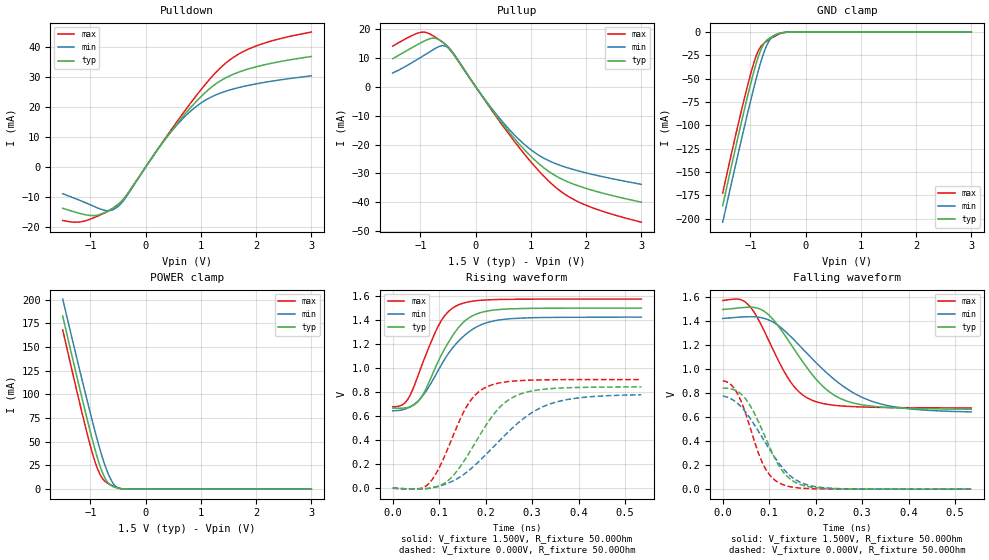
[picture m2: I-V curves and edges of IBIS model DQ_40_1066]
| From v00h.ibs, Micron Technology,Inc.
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| MODEL DQ_40_1066 (40 Ohm Data I/O with no ODT, 800/1066Mbps)
[Model]   DQ_40_1066
Model_type   I/O
Vinl = 575.000mV
Vinh = 925.000mV
Vmeas = 750.000mV
Vref = 750.000mV
Cref = 0.0pF
Rref = 25.000Ohm
|   typ   min   max
|C_comp   1.100pF   1.025pF   1.175pF
C_comp_pullup   0.5500pF   0.5125pF   0.5875pF
C_comp_pulldown   0.5500pF   0.5125pF   0.5875pF
[Model Spec]
| Input threshold voltage corners
Vinl   0.5750V   0.5375V   0.6125V
Vinh   0.9250V   0.8875V   0.9625V
| Measurement voltage corners
Vmeas   0.7500V   0.7125V   0.7875V
| Timing spec test load voltage corners
Vref   0.7500V   0.7125V   0.7875V
| Dynamic Overshoot Parameters from DDR3 Specification
|D_overshoot_ampl_h   0.40   NA   NA
|D_overshoot_ampl_l   0.40   NA   NA
|D_overshoot_area_h   0.19n   NA   NA
|D_overshoot_area_l   0.19n   NA   NA
[Receiver Thresholds]
Vth   =  0.750V
Vth_min  =  0.7350V
Vth_max  =  0.7650V
Vinh_ac  =  0.175V
Vinh_dc  =  0.100V
Vinl_ac  = -0.175V
Vinl_dc  = -0.100V
Tslew_ac =  5.000ns |Not specified, so set to high value
Threshold_sensitivity = 0.50
Reference_supply Pullup_ref
[Voltage Range]   1.5000V   1.4250V   1.5750V
[Pullup Reference]   1.5000V   1.4250V   1.5750V
| Junction Temperature (Ambient temp is 35C typ, 95C min, 0C max)
[Temperature Range]   50.0   110.0   0.0
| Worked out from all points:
|   slope of the pulldown table from 0 to 0.225 V, typ, clamps not added: 37.6 ohm
|   slope of the pullup table from 0 to 0.225 V, typ, clamps not added: 36.8 ohm
|   GND clamp passes 1 mA (typ) near -0.44 V on its own axis
|   POWER clamp passes 1 mA (typ) near -0.50 V on its own axis
|   falling waveform, V_fixture 1.500V, R_fixture 50.00Ohm: 20-80 % time 97.7ps typ, 135ps min, 73.9ps max; typ from 1.5 V to 0.667 V
|   rising waveform, V_fixture 1.500V, R_fixture 50.00Ohm: 20-80 % time 68.3ps typ, 83.1ps min, 57.9ps max; typ from 0.667 V to 1.5 V
|   rising waveform, V_fixture 0.000V, R_fixture 50.00Ohm: 20-80 % time 87.5ps typ, 131ps min, 65.1ps max; typ from 0 V to 0.843 V
|   falling waveform, V_fixture 0.000V, R_fixture 50.00Ohm: 20-80 % time 63.1ps typ, 80.5ps min, 49.8ps max; typ from 0.843 V to 0 V
[Pulldown]
|   Voltage   I(typ)   I(min)   I(max)
-1.5V     -13.72mA   -8.872mA   -17.78mA
-1.205V   -15.35mA   -10.97mA   -18.31mA
-925mV    -16.14mA   -13.16mA   -16.79mA
-740mV    -15.13mA   -14.39mA   -15.25mA
-590mV    -13.63mA   -14.19mA   -13.69mA
-360mV    -9.799mA   -10.17mA   -9.766mA
460mV     11.86mA    11.73mA    12.33mA
995mV     23.35mA    21.26mA    25.62mA
1.37V     28.92mA    24.77mA    33.33mA
1.74V     32mA       26.74mA    38.23mA
2.235V    34.43mA    28.49mA    41.8mA
3V        36.86mA    30.42mA    44.99mA
[GND Clamp]
|   Voltage   I(typ)   I(min)   I(max)
-1.5V     -186mA     -203.8mA   -172.6mA
-1.315V   -136.6mA   -155mA     -123.3mA
-1.16V    -96.29mA   -115mA     -83.85mA
-1.02V    -61.55mA   -79.79mA   -50.66mA
-925mV    -39.97mA   -57.01mA   -30.88mA
-845mV    -24.55mA   -39.15mA   -18.86mA
-765mV    -13.68mA   -23.7mA    -12.61mA
-675mV    -7.378mA   -11.11mA   -8.737mA
-585mV    -4.249mA   -4.347mA   -5.415mA
-475mV    -1.572mA   -1.264mA   -2.107mA
-320mV    -80.23uA   -77.6uA    -95.47uA
3V        0A         0A         0A
[Pullup]
|   Voltage   I(typ)   I(min)   I(max)
-1.5V     9.644mA    4.699mA    13.99mA
-935mV    15.67mA    10.77mA    18.83mA
-730mV    16.69mA    13.18mA    17.1mA
-540mV    14.44mA    13.92mA    14.44mA
-415mV    11.73mA    11.55mA    11.84mA
175mV     -4.783mA   -4.603mA   -4.924mA
495mV     -13.02mA   -12.32mA   -13.59mA
855mV     -21.21mA   -19.49mA   -22.63mA
1.185V    -27.28mA   -24.18mA   -29.95mA
1.525V    -31.6mA    -27.15mA   -35.94mA
1.865V    -34.32mA   -29.14mA   -39.85mA
3V        -39.93mA   -33.77mA   -46.84mA
[POWER Clamp]
|   Voltage   I(typ)   I(min)   I(max)
-1.5V     182.5mA    200.5mA    168mA
-1.115V   87.5mA     107mA      72.03mA
-1V       60.56mA    80.15mA    45.8mA
-910mV    40.77mA    59.85mA    28.01mA
-810mV    22mA       38.84mA    13.98mA
-725mV    10.61mA    23.55mA    7.788mA
-675mV    6.297mA    16.06mA    5.908mA
-620mV    3.641mA    9.228mA    4.207mA
-535mV    1.566mA    2.695mA    2.027mA
-440mV    397.8uA    483.4uA    506.5uA
-285mV    11.34uA    18.25uA    9.202uA
3V        0A         0A         0A
[Ramp]
R_load = 50.00Ohm
|   typ   min   max
dV/dt_r   506.082mV/87.438ps  467.083mV/130.473ps 543.020mV/65.075ps
dV/dt_f   499.641mV/97.655ps  468.121mV/135.108ps 538.104mV/73.840ps
[Falling Waveform]
V_fixture = 1.500V
V_fixture_min = 1.425V
V_fixture_max = 1.575V
R_fixture = 50.00Ohm
|   Time   V(typ)   V(min)   V(max)
0s        1.5V       1.425V     1.575V
51ps      1.518V     1.439V     1.554V
70ps      1.515V     1.438V     1.462V
92ps      1.477V     1.422V     1.299V
145ps     1.22V      1.279V     901.3mV
191ps     964.7mV    1.095V     744.5mV
247ps     768.9mV    894.8mV    697.6mV
324ps     691.6mV    729.7mV    683.7mV
396ps     675.2mV    673mV      680.1mV
535ps     667.3mV    644.8mV    678.2mV
[Rising Waveform]
V_fixture = 1.500V
V_fixture_min = 1.425V
V_fixture_max = 1.575V
R_fixture = 50.00Ohm
|   Time   V(typ)   V(min)   V(max)
0s        667.3mV    644.8mV    678.2mV
30ps      670.9mV    664.1mV    727.4mV
42ps      685.8mV    687.5mV    812.3mV
58ps      738.8mV    739.8mV    974.6mV
103ps     1.096V     1.016V     1.385V
122ps     1.228V     1.133V     1.478V
142ps     1.34V      1.226V     1.527V
179ps     1.449V     1.34V      1.561V
238ps     1.49V      1.406V     1.572V
535ps     1.5V       1.425V     1.575V
[Rising Waveform]
V_fixture = 0.000V
V_fixture_min = 0.000V
V_fixture_max = 0.000V
R_fixture = 50.00Ohm
|   Time   V(typ)   V(min)   V(max)
0s        -20.92uV   -20.77uV   -19.67uV
57ps      -7.447mV   -7.734mV   -3.092mV
79ps      782.2uV    -713.9uV   43.85mV
120ps     66.61mV    43.65mV    343mV
160ps     265.8mV    135.6mV    686mV
204ps     543.6mV    293.9mV    846.7mV
256ps     751mV      495.8mV    891mV
333ps     826.9mV    693.9mV    902.7mV
406ps     839.6mV    754.9mV    904.5mV
535ps     843.4mV    778.5mV    905mV
[Falling Waveform]
V_fixture = 0.000V
V_fixture_min = 0.000V
V_fixture_max = 0.000V
R_fixture = 50.00Ohm
|   Time   V(typ)   V(min)   V(max)
0s        843.4mV    778.5mV    905mV
27ps      825.8mV    731.4mV    828.4mV
51ps      744.6mV    634.7mV    612.3mV
74ps      586.6mV    501.5mV    332.5mV
87ps      475mV      419mV      206.4mV
106ps     308.1mV    301mV      97.19mV
127ps     160.4mV    186.5mV    41.61mV
161ps     48.18mV    69.59mV    11.08mV
211ps     8.463mV    14.61mV    2.16mV
535ps     -20.92uV   -20.77uV   -19.67uV
